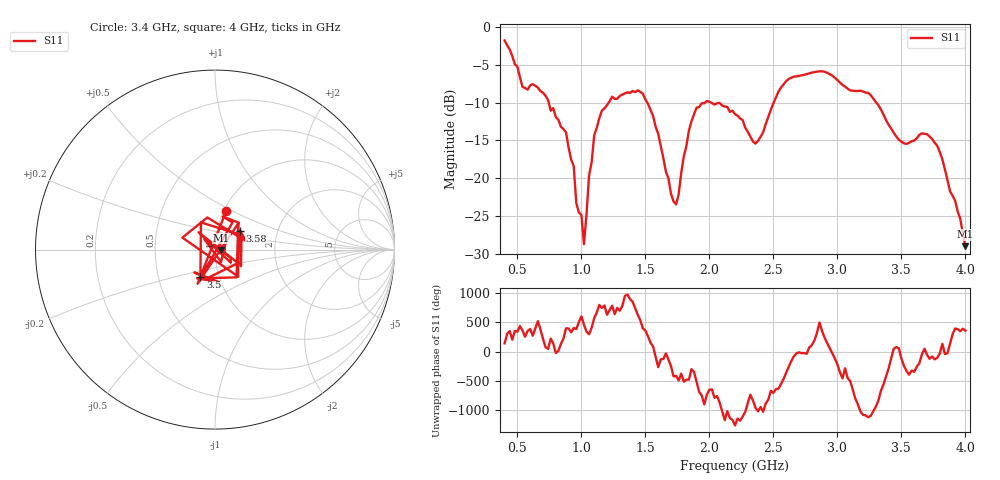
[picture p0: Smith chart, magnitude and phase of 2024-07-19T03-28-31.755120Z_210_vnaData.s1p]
!Created with skrf (http://scikit-rf.org).
# Hz S RI R 50.0
!freq ReS11 ImS11
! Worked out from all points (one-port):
!   181 points, 400 MHz to 4 GHz, reference 50 ohm
!   lowest |S11| = -29.0 dB at 4 GHz (marker M1), VSWR 1.07, Z = 53.7 - j0.164 ohm
!   |S11| at or under -10 dB: 744.8 MHz to 1.213 GHz (468.1 MHz wide, 47.8 % of centre); 2.015 GHz to 2.502 GHz (486.6 MHz wide, 21.5 % of centre); 3.304 GHz to end of sweep (the widest 3 of 4)
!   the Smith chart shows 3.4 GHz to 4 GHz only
!   S11 on the Smith chart (normalised r, x): 3.4 GHz: 1.03, +0.47; 3.5 GHz: 0.81, -0.26; 3.58 GHz: 1.29, +0.28; 4 GHz: 1.07, -0.00
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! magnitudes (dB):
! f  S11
! 400 MHz  -1.8
! 540 MHz  -7.9
! 700 MHz  -8.7
! 860 MHz  -13.5
! 940 MHz  -18.4
! 960 MHz  -23.3
! 1 GHz  -24.9
! 1.02 GHz  -28.7
! 1.06 GHz  -19.6
! 1.1 GHz  -14.3
! 1.3 GHz  -9.1
! 1.48 GHz  -8.8
! 1.6 GHz  -14.1
! 1.72 GHz  -23.1
! 1.76 GHz  -22.1
! 1.84 GHz  -13.7
! 1.9 GHz  -10.7
! 2.2 GHz  -11.5
! 2.36 GHz  -15.4
! 2.66 GHz  -6.6
! 3.1 GHz  -8.4
! 3.24 GHz  -8.7
! 3.4 GHz  -12.9
! 3.5 GHz  -15.2
! 3.56 GHz  -15.3
! 3.58 GHz  -15.1
! 3.78 GHz  -15.7
! 4 GHz  -29.0
